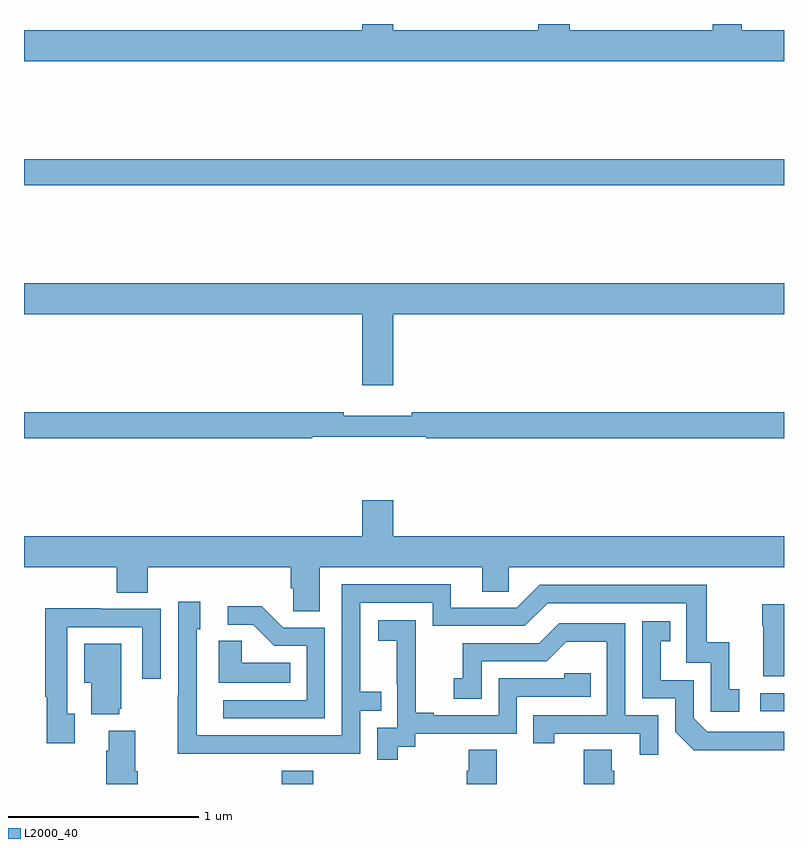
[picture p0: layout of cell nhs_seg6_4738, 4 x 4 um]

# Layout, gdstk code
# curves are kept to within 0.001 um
import gdstk
lib = gdstk.Library(unit=1e-6, precision=1e-09)
def R(c, l, rs):  # rectangles x0, y0, x1, y1
    for r in rs: c.add(gdstk.rectangle(r[:2], r[2:], *l))
def P(c, l, *ps):  # polygons
    for p in ps: c.add(gdstk.Polygon(p, *l))
L2000_40 = (2000, 40)

nhs_seg6_4738 = lib.new_cell('nhs_seg6_4738')
R(nhs_seg6_4738, L2000_40, [(392.357,975.5,392.522,975.571), (394.875,975.882,395,975.978), (391,978.652,395,978.788)])
P(nhs_seg6_4738, L2000_40, [(395,979.468),(394.777,979.468),(394.777,979.5),(394.625,979.5),(394.625,979.468),(393.872,979.468),(393.872,979.5),(393.707,979.5),(393.707,979.468),(392.944,979.468),(392.944,979.5),(392.78,979.5),(392.78,979.468),(391,979.468),(391,979.304),(395,979.304)],
  [(392.944,977.972),(395,977.972),(395,978.136),(391,978.136),(391,977.972),(392.78,977.972),(392.78,977.598),(392.944,977.598)],
  [(392.518,977.328),(393.118,977.328),(393.118,977.32),(395,977.32),(395,977.456),(393.04,977.456),(393.04,977.437),(392.684,977.437),(392.684,977.456),(391,977.456),(391,977.32),(392.518,977.32)],
  [(392.944,976.993),(392.78,976.993),(392.78,976.804),(391,976.804),(391,976.64),(391.487,976.64),(391.487,976.507),(391.652,976.507),(391.652,976.64),(392.405,976.64),(392.405,976.531),(392.418,976.531),(392.418,976.408),(392.557,976.408),(392.557,976.64),(393.413,976.64),(393.413,976.513),(393.552,976.513),(393.552,976.64),(395,976.64),(395,976.804),(392.944,976.804)],
  [(392.273,975.66),(392.769,975.66),(392.769,975.885),(392.879,975.885),(392.879,975.986),(392.769,975.986),(392.769,976.455),(393.15,976.455),(393.15,976.332),(393.636,976.332),(393.756,976.452),(394.485,976.452),(394.485,976.137),(394.614,976.137),(394.614,975.879),(394.765,975.879),(394.765,975.999),(394.712,975.999),(394.712,976.246),(394.594,976.246),(394.594,976.548),(393.714,976.548),(393.594,976.428),(393.247,976.428),(393.247,976.551),(392.673,976.551),(392.673,975.756),(391.908,975.756),(391.908,976.314),(391.927,976.314),(391.927,976.459),(391.812,976.459),(391.812,975.965),(391.81,975.965),(391.81,975.659)],
  [(395,976.447),(394.885,976.447),(394.885,976.334),(394.892,976.334),(394.892,976.067),(395,976.067)],
  [(392.583,976.323),(392.364,976.323),(392.251,976.436),(392.073,976.436),(392.073,976.338),(392.207,976.338),(392.318,976.227),(392.487,976.227),(392.487,975.942),(392.049,975.942),(392.049,975.846),(392.583,975.846)],
  [(391.267,975.87),(391.227,975.87),(391.227,976.326),(391.623,976.326),(391.623,976.053),(391.719,976.053),(391.719,976.422),(391.403,976.422),(391.403,976.424),(391.111,976.424),(391.111,975.958),(391.119,975.958),(391.119,975.714),(391.267,975.714)],
  [(392.968,975.697),(393.06,975.697),(393.06,975.765),(393.594,975.765),(393.594,975.96),(393.983,975.96),(393.983,976.083),(393.843,976.083),(393.843,976.056),(393.498,976.056),(393.498,975.861),(393.157,975.861),(393.157,975.874),(393.062,975.874),(393.062,976.157),(393.063,976.157),(393.063,976.363),(392.865,976.363),(392.865,976.253),(392.963,976.253),(392.963,976.025),(392.964,976.025),(392.964,975.795),(392.859,975.795),(392.859,975.627),(392.968,975.627)],
  [(394.934,975.678),(395,975.678),(395,975.774),(394.596,975.774),(394.524,975.846),(394.524,976.047),(394.351,976.047),(394.351,976.251),(394.4,976.251),(394.4,976.357),(394.254,976.357),(394.254,975.951),(394.428,975.951),(394.428,975.774),(394.526,975.677)],
  [(394.338,975.861),(394.164,975.861),(394.164,976.347),(393.818,976.347),(393.713,976.242),(393.31,976.242),(393.31,976.057),(393.261,976.057),(393.261,975.948),(393.408,975.948),(393.408,976.146),(393.75,976.146),(393.854,976.25),(394.068,976.25),(394.068,975.861),(393.679,975.861),(393.679,975.714),(393.79,975.714),(393.79,975.765),(394.241,975.765),(394.241,975.654),(394.338,975.654)],
  [(392.402,976.138),(392.145,976.138),(392.145,976.253),(392.024,976.253),(392.024,976.034),(392.402,976.034)],
  [(391.502,975.897),(391.513,975.897),(391.513,976.237),(391.316,976.237),(391.316,976.034),(391.355,976.034),(391.355,975.866),(391.502,975.866)],
  [(391.598,975.568),(391.585,975.568),(391.585,975.781),(391.445,975.781),(391.445,975.674),(391.433,975.674),(391.433,975.5),(391.598,975.5)],
  [(394.106,975.57),(394.093,975.57),(394.093,975.68),(393.946,975.68),(393.946,975.5),(394.106,975.5)],
  [(393.489,975.68),(393.341,975.68),(393.341,975.57),(393.329,975.57),(393.329,975.5),(393.489,975.5)])

lib.write_gds('nhs_seg6_4738.gds')
